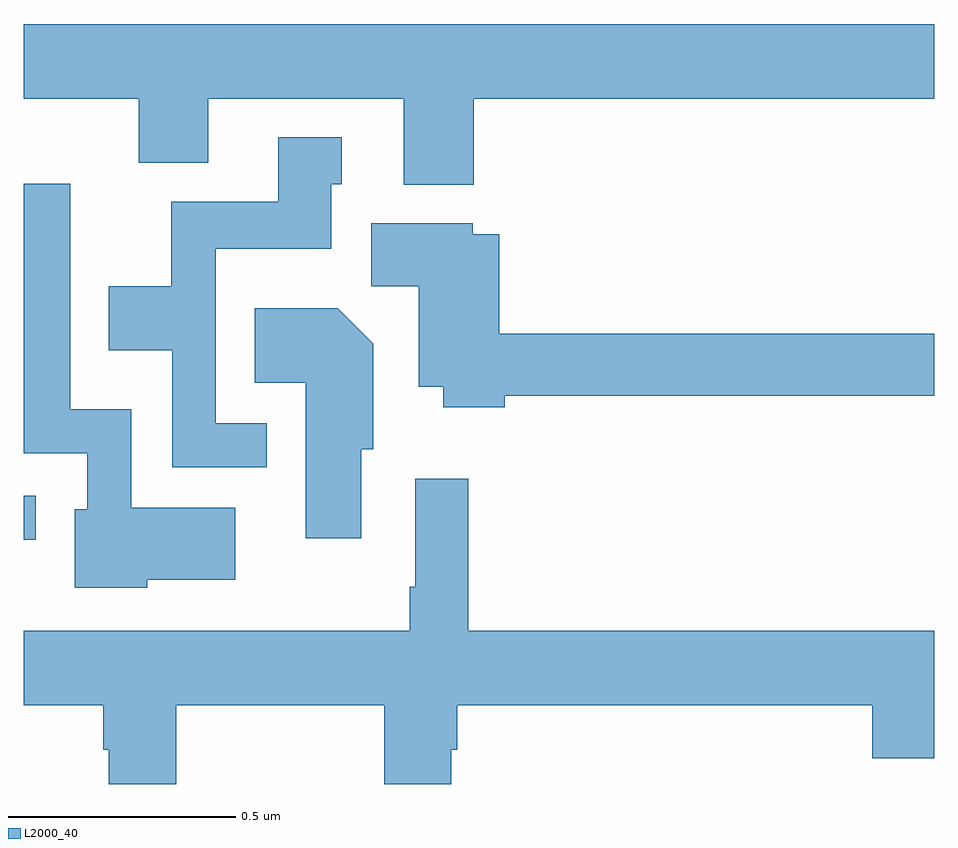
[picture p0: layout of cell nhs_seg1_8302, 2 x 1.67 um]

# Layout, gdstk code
import gdstk
lib = gdstk.Library(unit=1e-6, precision=1e-09)
def R(c, l, rs):  # rectangles x0, y0, x1, y1
    for r in rs: c.add(gdstk.rectangle(r[:2], r[2:], *l))
def P(c, l, *ps):  # polygons
    for p in ps: c.add(gdstk.Polygon(p, *l))
L2000_40 = (2000, 40)

nhs_seg1_8302 = lib.new_cell('nhs_seg1_8302')
R(nhs_seg1_8302, L2000_40, [(214,578.735,214.027,578.832)])
P(nhs_seg1_8302, L2000_40, [(214.988,579.704),(216,579.704),(216,579.868),(214,579.868),(214,579.704),(214.253,579.704),(214.253,579.563),(214.405,579.563),(214.405,579.704),(214.835,579.704),(214.835,579.515),(214.988,579.515)],
  [(214.534,578.991),(214.422,578.991),(214.422,579.374),(214.675,579.374),(214.675,579.516),(214.699,579.516),(214.699,579.619),(214.559,579.619),(214.559,579.478),(214.324,579.478),(214.324,579.292),(214.187,579.292),(214.187,579.152),(214.326,579.152),(214.326,578.895),(214.534,578.895)],
  [(214.272,578.648),(214.465,578.648),(214.465,578.806),(214.236,578.806),(214.236,579.022),(214.102,579.022),(214.102,579.517),(214,579.517),(214,578.925),(214.14,578.925),(214.14,578.802),(214.112,578.802),(214.112,578.63),(214.272,578.63)],
  [(215.057,579.052),(216,579.052),(216,579.188),(215.044,579.188),(215.044,579.406),(214.986,579.406),(214.986,579.43),(214.763,579.43),(214.763,579.292),(214.868,579.292),(214.868,579.071),(214.922,579.071),(214.922,579.026),(215.057,579.026)],
  [(214.741,578.934),(214.768,578.934),(214.768,579.166),(214.69,579.244),(214.507,579.244),(214.507,579.08),(214.619,579.08),(214.619,578.739),(214.741,578.739)],
  [(214.335,578.372),(214.792,578.372),(214.792,578.199),(214.939,578.199),(214.939,578.274),(214.952,578.274),(214.952,578.372),(215.864,578.372),(215.864,578.255),(216,578.255),(216,578.536),(214.976,578.536),(214.976,578.869),(214.86,578.869),(214.86,578.632),(214.848,578.632),(214.848,578.536),(214,578.536),(214,578.372),(214.175,578.372),(214.175,578.274),(214.187,578.274),(214.187,578.199),(214.335,578.199)])

lib.write_gds('nhs_seg1_8302.gds')
